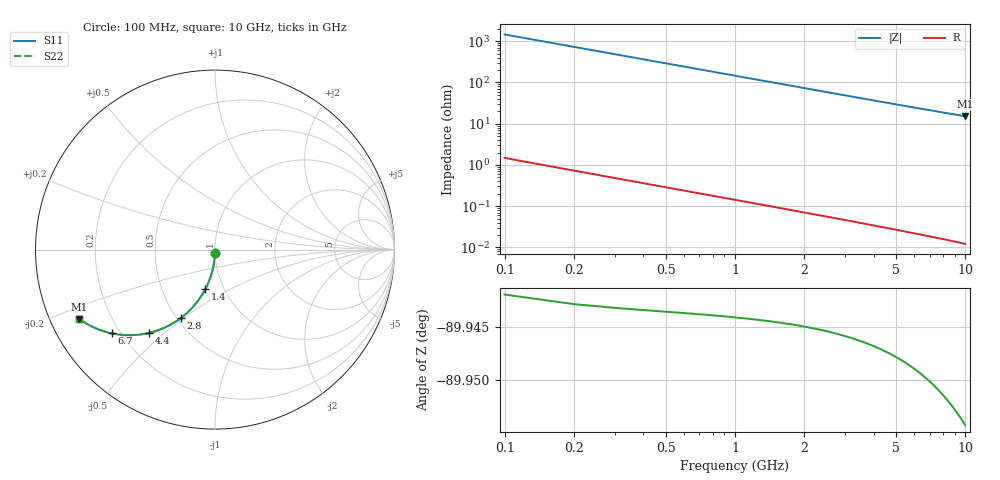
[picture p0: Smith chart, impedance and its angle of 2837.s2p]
# Hz S RI R 50.00
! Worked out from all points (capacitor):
!   100 points, 100 MHz to 10 GHz, reference 50 ohm
!   read as one part in shunt: C = 1.09 pF near 100 MHz
!   lowest |Z| = 15.2 ohm at 10 GHz (marker M1)
!   S11 on the Smith chart (normalised r, x): 100 MHz: 1.00, -0.03; 1.4 GHz: 0.82, -0.38; 2.8 GHz: 0.53, -0.49; 4.4 GHz: 0.31, -0.45; 6.7 GHz: 0.17, -0.35; 10 GHz: 0.09, -0.24
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1e8  -0.000208 -0.0167  0.9996 -0.0175  0.9996 -0.0175  -0.000208 -0.0167
2e8  -0.0011 -0.0334  0.9987 -0.035  0.9987 -0.035  -0.0011 -0.0334
3e8  -0.00258 -0.0501  0.9972 -0.0525  0.9972 -0.0525  -0.00258 -0.0501
4e8  -0.00464 -0.0667  0.9951 -0.0698  0.9951 -0.0698  -0.00464 -0.0667
5e8  -0.00727 -0.0831  0.9925 -0.087  0.9925 -0.087  -0.00727 -0.0831
6e8  -0.0105 -0.0994  0.9893 -0.1041  0.9893 -0.1041  -0.0105 -0.0994
7e8  -0.0142 -0.1155  0.9856 -0.121  0.9856 -0.121  -0.0142 -0.1155
9e8  -0.0233 -0.1471  0.9765 -0.1543  0.9765 -0.1543  -0.0233 -0.1471
1.1e9  -0.0344 -0.1778  0.9653 -0.1865  0.9653 -0.1865  -0.0344 -0.1778
1.4e9  -0.0546 -0.2215  0.9451 -0.2325  0.9451 -0.2325  -0.0546 -0.2215
1.8e9  -0.0872 -0.2748  0.9124 -0.289  0.9124 -0.289  -0.0872 -0.2748
2.3e9  -0.1351 -0.3324  0.8645 -0.3507  0.8645 -0.3507  -0.1351 -0.3324
2.8e9  -0.1882 -0.3795  0.8113 -0.4017  0.8113 -0.4017  -0.1882 -0.3795
3.4e9  -0.2552 -0.4221  0.7442 -0.4492  0.7442 -0.4492  -0.2552 -0.4221
3.9e9  -0.3112 -0.4471  0.6881 -0.4782  0.6881 -0.4782  -0.3112 -0.4471
4.4e9  -0.3656 -0.4636  0.6336 -0.4988  0.6336 -0.4988  -0.3656 -0.4636
5.1e9  -0.4372 -0.4751  0.5617 -0.5161  0.5617 -0.5161  -0.4372 -0.4751
5.8e9  -0.5022 -0.4761  0.4965 -0.5228  0.4965 -0.5228  -0.5022 -0.4761
6.7e9  -0.5751 -0.4666  0.4232 -0.5208  0.4232 -0.5208  -0.5751 -0.4666
7.5e9  -0.6303 -0.4514  0.3676 -0.5124  0.3676 -0.5124  -0.6303 -0.4514
8.4e9  -0.6827 -0.43  0.3147 -0.4987  0.3147 -0.4987  -0.6827 -0.43
1e10  -0.7551 -0.387  0.2412 -0.4697  0.2412 -0.4697  -0.7551 -0.387
